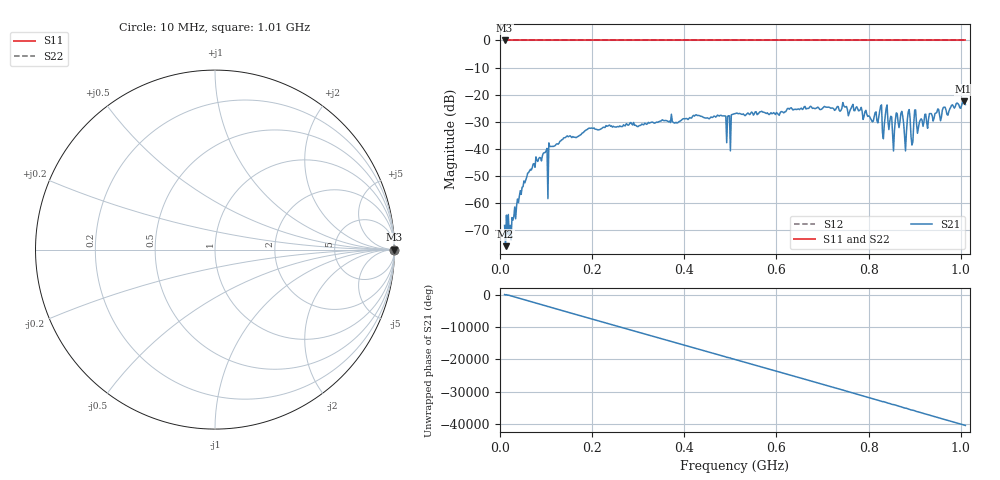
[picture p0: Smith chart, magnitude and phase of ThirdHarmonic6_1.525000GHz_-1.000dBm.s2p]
! 8/16/2025 6:01:33 PM
! C:\ANRITSUVNA\TEMP\TEMP.S2P
! CHANNEL.1
! TR.MEASUREMENT
! RAW.DATA
! RF.CORRECTION.OFF
! AVERAGING.OFF
! IF.BANDWIDTH: 5KHZ
! SWEEPTYPE:  FREQ.SWEEP(Linear)
! Reference Plane Port Info
! PORT:  PORT1  PORT2
! DISTANCE:  0  m  0  m
! TIME:  0  s  0  s
! PHASE.OFFSET:  0  deg.  0  deg.
! LOSS:  0  dB  0  dB
! REF.LOSS:  0  dB  0  dB
! REF.FREQ:  0  Hz  0  Hz
! Power Info
! POWER:  -20  dBm  -20  dBm
! EFF.POWER:  -20  dBm  -20  dBm
! SOURCE.ATTEN:  0  dB  0  dB
! TEST.ATTEN:  0  dB  0  dB
# GHZ S RI R 50.0
! FREQ.GHZ  S11RE  S11IM  S21RE  S21IM  S12RE  S12IM  S22RE  S22IM
!; PortSelection: Port_12
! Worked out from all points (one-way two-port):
!   501 points, 10 MHz to 1.01 GHz, reference 50 ohm
!   highest |S21| = -22.41 dB at 1.006 GHz (marker M1); lowest = -75.9 dB at 12 MHz (marker M2)
!   lowest |S11| = 0.0 dB at 10 MHz (marker M3)
!   |S11| at or under -10 dB: nowhere
!   |S22| runs from 0.0 to 0.0 dB; largest |S21 - S12| = 1.1
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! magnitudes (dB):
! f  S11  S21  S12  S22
! 10 MHz  0.0  -68.2  0.0  0.0
! 12 MHz  0.0  -75.9  0.0  0.0
! 24 MHz  0.0  -73.6  0.0  0.0
! 48 MHz  0.0  -54.1  0.0  0.0
! 82 MHz  0.0  -44.6  0.0  0.0
! 178 MHz  0.0  -34.2  0.0  0.0
! 344 MHz  0.0  -30.0  0.0  0.0
! 482 MHz  0.0  -27.8  0.0  0.0
! 496 MHz  0.0  -27.8  0.0  0.0
! 510 MHz  0.0  -27.0  0.0  0.0
! 678 MHz  0.0  -25.1  0.0  0.0
! 748 MHz  0.0  -24.5  0.0  0.0
! 834 MHz  0.0  -31.1  0.0  0.0
! 844 MHz  0.0  -32.9  0.0  0.0
! 854 MHz  0.0  -40.8  0.0  0.0
! 872 MHz  0.0  -26.2  0.0  0.0
! 880 MHz  0.0  -40.7  0.0  0.0
! 886 MHz  0.0  -26.3  0.0  0.0
! 894 MHz  0.0  -38.6  0.0  0.0
! 902 MHz  0.0  -25.6  0.0  0.0
! 1.006 GHz  0.0  -22.4  0.0  0.0
! 1.01 GHz  0.0  -23.6  0.0  0.0
